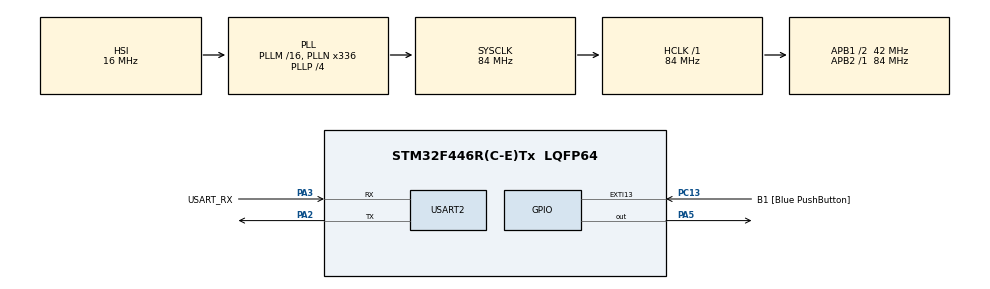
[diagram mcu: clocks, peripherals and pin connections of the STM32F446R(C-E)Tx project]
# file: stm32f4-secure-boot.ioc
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Mcu.Family=STM32F4
Mcu.Name=STM32F446R(C-E)Tx
Mcu.Package=LQFP64
NVIC.PriorityGroup=NVIC_PRIORITYGROUP_0
PA13.GPIO_Label=TMS
PA13.Signal=SYS_JTMS-SWDIO
PA14.GPIO_Label=TCK
PA14.Signal=SYS_JTCK-SWCLK
PA2.Mode=Asynchronous
PA2.Signal=USART2_TX
PA3.GPIO_Label=USART_RX
PA3.Mode=Asynchronous
PA3.Signal=USART2_RX
PA5.Signal=GPIO_Output
PB3.GPIO_Label=SWO
PB3.Signal=SYS_JTDO-SWO
PC13.GPIO_Label=B1 [Blue PushButton]
PC13.GPIO_ModeDefaultEXTI=GPIO_MODE_IT_FALLING
PC13.Signal=GPXTI13
PC14-OSC32_IN.Signal=RCC_OSC32_IN
PC15-OSC32_OUT.Signal=RCC_OSC32_OUT
PH0-OSC_IN.Signal=RCC_OSC_IN
PH1-OSC_OUT.Signal=RCC_OSC_OUT
ProjectManager.HeapSize=0x200
ProjectManager.StackSize=0x400
ProjectManager.TargetToolchain=STM32CubeIDE
RCC.AHBFreq_Value=84000000
RCC.APB1CLKDivider=RCC_HCLK_DIV2
RCC.APB1Freq_Value=42000000
RCC.APB1TimFreq_Value=84000000
RCC.APB2Freq_Value=84000000
RCC.APB2TimFreq_Value=84000000
RCC.CortexFreq_Value=84000000
RCC.FLatency-AdvancedSettings=FLASH_LATENCY_2
RCC.HCLKFreq_Value=84000000
RCC.HSE_VALUE=8000000
RCC.HSI_VALUE=16000000
RCC.LSE_VALUE=32768
RCC.PLLN=336
RCC.PLLP=RCC_PLLP_DIV4
RCC.SYSCLKFreq_VALUE=84000000
RCC.SYSCLKSource=RCC_SYSCLKSOURCE_PLLCLK
RCC.USBFreq_Value=168000000
RCC.VCOOutputFreq_Value=336000000
USART2.VirtualMode=VM_ASYNC
VP_CRC_VS_CRC.Mode=CRC_Activate
board=NUCLEO-F446RE

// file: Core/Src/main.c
/* USER CODE BEGIN Header */
/**
  ******************************************************************************
  * @file           : main.c
  * @brief          : Main program body
  ******************************************************************************
  * @attention
  *
  * Copyright (c) 2025 STMicroelectronics.
  * All rights reserved.
  *
  * This software is licensed under terms that can be found in the LICENSE file
  * in the root directory of this software component.
  * If no LICENSE file comes with this software, it is provided AS-IS.
  *
  ******************************************************************************
  */
/* USER CODE END Header */
#include "main.h"
#include "crc.h"
#include "usart.h"
#include "gpio.h"

/* USER CODE BEGIN Includes */
#include <string.h>
#include <stdio.h>
/* USER CODE END Includes */

/* USER CODE BEGIN PD */
#define APP_START_ADDR    0x08008000U
#define APP_IMAGE_SIZE    491516U           // In bytes, not including CRC!
#define CRC_ADDR          (APP_START_ADDR + APP_IMAGE_SIZE)  // 0x0807FFFC
#define RAM_START         0x20000000U
#define RAM_END           0x20020000U

/* USER CODE END PD */

extern CRC_HandleTypeDef hcrc;

void SystemClock_Config(void);
/* USER CODE BEGIN PFP */
uint32_t calculate_app_crc(void);
int check_app_valid(void);
void jump_to_app(void);
uint32_t sw_crc32(const uint8_t *data, uint32_t length);

/* USER CODE END PFP */

int main(void)
{

  /* MCU Configuration--------------------------------------------------------*/

  /* Reset of all peripherals, Initializes the Flash interface and the Systick. */
  HAL_Init();

  /* Configure the system clock */
  SystemClock_Config();

  /* Initialize all configured peripherals */
  MX_GPIO_Init();
  MX_USART2_UART_Init();
  MX_CRC_Init();
  /* USER CODE BEGIN 2 */

  //Configure LED GPIO
  HAL_GPIO_WritePin(GPIOA, GPIO_PIN_5, GPIO_PIN_RESET);

  char msg[] = "Bootloader active\r\n";
  char valid_app_msg[] = "Valid application\r\n";
  char validation_error_msg[] = "Could not validate the application\r\n";

  HAL_UART_Transmit(&huart2, (uint8_t*)msg, strlen(msg), HAL_MAX_DELAY);

  if (check_app_valid()) {
	  HAL_UART_Transmit(&huart2, (uint8_t*)valid_app_msg, strlen(valid_app_msg), HAL_MAX_DELAY);
	  HAL_Delay(100);
	  jump_to_app();
  } else {
	  while (1){
		  HAL_UART_Transmit(&huart2, (uint8_t*)validation_error_msg, strlen(validation_error_msg), HAL_MAX_DELAY);
		  HAL_GPIO_TogglePin(GPIOA, GPIO_PIN_5);
		  HAL_Delay(500);
	  }
  }

  /* USER CODE END 2 */

  /* Infinite loop */
  /* USER CODE BEGIN WHILE */
//  while (1)
//  {
//    /* USER CODE END WHILE */
//
//    /* USER CODE BEGIN 3 */
//	HAL_GPIO_TogglePin(GPIOA, GPIO_PIN_5);
//	HAL_Delay(500);
//  }
  /* USER CODE END 3 */
}

void SystemClock_Config(void)
{
  RCC_OscInitTypeDef RCC_OscInitStruct = {0};
  RCC_ClkInitTypeDef RCC_ClkInitStruct = {0};

  /** Configure the main internal regulator output voltage
  */
  __HAL_RCC_PWR_CLK_ENABLE();
  __HAL_PWR_VOLTAGESCALING_CONFIG(PWR_REGULATOR_VOLTAGE_SCALE3);

  /** Initializes the RCC Oscillators according to the specified parameters
  * in the RCC_OscInitTypeDef structure.
  */
  RCC_OscInitStruct.OscillatorType = RCC_OSCILLATORTYPE_HSI;
  RCC_OscInitStruct.HSIState = RCC_HSI_ON;
  RCC_OscInitStruct.HSICalibrationValue = RCC_HSICALIBRATION_DEFAULT;
  RCC_OscInitStruct.PLL.PLLState = RCC_PLL_ON;
  RCC_OscInitStruct.PLL.PLLSource = RCC_PLLSOURCE_HSI;
  RCC_OscInitStruct.PLL.PLLM = 16;
  RCC_OscInitStruct.PLL.PLLN = 336;
  RCC_OscInitStruct.PLL.PLLP = RCC_PLLP_DIV4;
  RCC_OscInitStruct.PLL.PLLQ = 2;
  RCC_OscInitStruct.PLL.PLLR = 2;
  if (HAL_RCC_OscConfig(&RCC_OscInitStruct) != HAL_OK)
  {
    Error_Handler();
  }

  /** Initializes the CPU, AHB and APB buses clocks
  */
  RCC_ClkInitStruct.ClockType = RCC_CLOCKTYPE_HCLK|RCC_CLOCKTYPE_SYSCLK
                              |RCC_CLOCKTYPE_PCLK1|RCC_CLOCKTYPE_PCLK2;
  RCC_ClkInitStruct.SYSCLKSource = RCC_SYSCLKSOURCE_PLLCLK;
  RCC_ClkInitStruct.AHBCLKDivider = RCC_SYSCLK_DIV1;
  RCC_ClkInitStruct.APB1CLKDivider = RCC_HCLK_DIV2;
  RCC_ClkInitStruct.APB2CLKDivider = RCC_HCLK_DIV1;

  if (HAL_RCC_ClockConfig(&RCC_ClkInitStruct, FLASH_LATENCY_2) != HAL_OK)
  {
    Error_Handler();
  }
}

/* USER CODE BEGIN 4 */

/**
  * @brief  CRC calculation function.
  * @retval uint32_t
  */
uint32_t calculate_app_crc(void)
{
	//STM32 HAL's CRC requires input in 32-bit words.

	uint32_t word_count = APP_IMAGE_SIZE / 4;

	//TEST
	char msg1[40];
	for (uint32_t i = 0; i < 4; ++i) {
	    //snprintf(msg1, sizeof(msg1), "Word %lu: 0x%08lX\r\n", i, *((uint32_t*)APP_START_ADDR + i));
	    HAL_UART_Transmit(&huart2, (uint8_t*)msg1, strlen(msg1), HAL_MAX_DELAY);
	}

	char msg2[40];
	for (uint32_t i = word_count - 4; i < word_count; ++i) {
		//snprintf(msg2, sizeof(msg2), "Last word %lu: 0x%08lX\n", i, *((uint32_t*)APP_START_ADDR + i));
		HAL_UART_Transmit(&huart2, (uint8_t*)msg2, strlen(msg2), HAL_MAX_DELAY);
	}

	char msg3[40];
	//snprintf(msg3, sizeof(msg3), "CRC control register: 0x%08lX\n", (unsigned long)hcrc.Instance->CR);
	HAL_UART_Transmit(&huart2, (uint8_t*)msg3, strlen(msg3), HAL_MAX_DELAY);

	//return HAL_CRC_Calculate(&hcrc, (uint32_t*)APP_START_ADDR, word_count);
	uint32_t sw_crc = sw_crc32((uint8_t*)APP_START_ADDR, APP_IMAGE_SIZE);
	return sw_crc;
}

/**
  * @brief  application validation function.
  * @retval int
  */
int check_app_valid(void)
{
	uint32_t crc_calculated = calculate_app_crc();
	uint32_t crc_stored = *(uint32_t*)CRC_ADDR;
	return (crc_calculated == crc_stored);
}

/**
  * @brief  jump to application function.
  * This function is executed if CRC match, the bootloader will jump here.
  * @retval uint32_t
  */
void jump_to_app(void)
{
	//Read vector table (SP) and Reset handler of the app
	uint32_t app_sp = *(uint32_t*)APP_START_ADDR;  //stack pointer value
	uint32_t app_entry = *(uint32_t*)(APP_START_ADDR + 4); //gives the reset handler address

	// Validate stack pointer (SP) and entry address
	if ((app_sp < RAM_START || app_sp > RAM_END) ||
	    (app_entry < APP_START_ADDR || app_entry >= (APP_START_ADDR + APP_IMAGE_SIZE))) {
		char err[] = "App vector table invalid.\r\n";
		HAL_UART_Transmit(&huart2, (uint8_t*)err, strlen(err), HAL_MAX_DELAY);
		return; //stay in bootloader
	}

	//set SP to app
	__set_MSP(app_sp);

	void (*app_reset_handler)(void) = (void (*)(void))app_entry;

	//jump
	app_reset_handler();
}

/**
  * @brief  SW CRC32 calculation
  * @retval uint32_t
  */
uint32_t sw_crc32(const uint8_t *data, uint32_t length) {
    uint32_t crc = 0xFFFFFFFF;
    for (uint32_t i = 0; i < length; ++i) {
        crc ^= data[i];
        for (uint8_t j = 0; j < 8; ++j) {
            if (crc & 1)
                crc = (crc >> 1) ^ 0xEDB88320;
            else
                crc >>= 1;
        }
    }
    return crc ^ 0xFFFFFFFF;
}

/* USER CODE END 4 */

void Error_Handler(void)
{
  __disable_irq();
  while (1)
  {
  }
}
